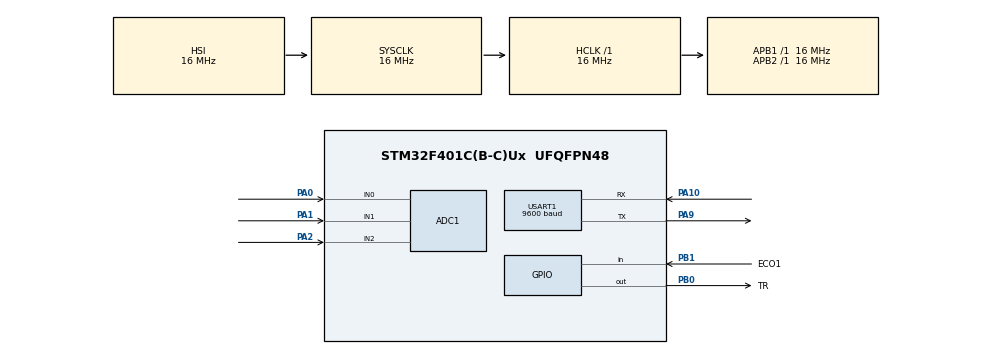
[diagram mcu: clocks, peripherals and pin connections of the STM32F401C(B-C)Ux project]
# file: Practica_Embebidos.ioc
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ADC1.Channel-0\#ChannelRegularConversion=ADC_CHANNEL_0
ADC1.Channel-1\#ChannelRegularConversion=ADC_CHANNEL_1
ADC1.Channel-2\#ChannelRegularConversion=ADC_CHANNEL_2
ADC1.InjNumberOfConversion=0
ADC1.NbrOfConversion=3
ADC1.NbrOfConversionFlag=1
ADC1.Rank-0\#ChannelRegularConversion=1
ADC1.Rank-1\#ChannelRegularConversion=2
ADC1.Rank-2\#ChannelRegularConversion=3
ADC1.SamplingTime-0\#ChannelRegularConversion=ADC_SAMPLETIME_84CYCLES
ADC1.SamplingTime-1\#ChannelRegularConversion=ADC_SAMPLETIME_84CYCLES
ADC1.SamplingTime-2\#ChannelRegularConversion=ADC_SAMPLETIME_84CYCLES
ADC1.master=1
Mcu.Family=STM32F4
Mcu.Name=STM32F401C(B-C)Ux
Mcu.Package=UFQFPN48
NVIC.PriorityGroup=NVIC_PRIORITYGROUP_4
PA0-WKUP.Signal=ADCx_IN0
PA1.Signal=ADCx_IN1
PA10.Mode=Asynchronous
PA10.Signal=USART1_RX
PA2.Signal=ADCx_IN2
PA9.Mode=Asynchronous
PA9.Signal=USART1_TX
PB0.GPIO_Label=TR
PB0.Signal=GPIO_Output
PB1.GPIO_Label=ECO1
PB1.Signal=GPIO_Input
ProjectManager.HeapSize=0x200
ProjectManager.StackSize=0x400
ProjectManager.TargetToolchain=CMake
RCC.AHBFreq_Value=16000000
RCC.APB1Freq_Value=16000000
RCC.APB2Freq_Value=16000000
RCC.CortexFreq_Value=16000000
RCC.HSE_VALUE=25000000
RCC.HSI_VALUE=16000000
RCC.LSE_VALUE=32768
RCC.SYSCLKFreq_VALUE=16000000
RCC.VCOOutputFreq_Value=192000000
SH.ADCx_IN0.0=ADC1_IN0,IN0
SH.ADCx_IN1.0=ADC1_IN1,IN1
SH.ADCx_IN2.0=ADC1_IN2,IN2
USART1.BaudRate=9600
USART1.VirtualMode=VM_ASYNC
board=custom

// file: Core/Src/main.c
/* USER CODE BEGIN Header */
/**
  ******************************************************************************
  * @file           : main.c
  * @brief          : Main program body
  ******************************************************************************
  * @attention
  *
  * Copyright (c) 2026 STMicroelectronics.
  * All rights reserved.
  *
  * This software is licensed under terms that can be found in the LICENSE file
  * in the root directory of this software component.
  * If no LICENSE file comes with this software, it is provided AS-IS.
  *
  ******************************************************************************
  */
/* USER CODE END Header */
#include "main.h"

/* USER CODE BEGIN Includes */
#include "stdio.h"
#include "string.h"
#include "stdlib.h"
#include "uart.h"
#include "math.h"
#include <stdint.h>
#include "adc_x.h"
#include "SFR04.h"

/* USER CODE END Includes */

ADC_HandleTypeDef hadc1;

UART_HandleTypeDef huart1;

/* USER CODE BEGIN PV */
uint16_t valoradc;
char buffer[100];
float voltaje;
float bateria;
float distancia;
char texto[50];
/* USER CODE END PV */

void SystemClock_Config(void);
static void MX_GPIO_Init(void);
static void MX_USART1_UART_Init(void);
static void MX_ADC1_Init(void);

int main(void)
{

  /* MCU Configuration--------------------------------------------------------*/

  /* Reset of all peripherals, Initializes the Flash interface and the Systick. */
  HAL_Init();

  /* Configure the system clock */
  SystemClock_Config();

  /* Initialize all configured peripherals */
  MX_GPIO_Init();
  MX_USART1_UART_Init();
  MX_ADC1_Init();
  /* USER CODE BEGIN 2 */
  uartx_write_text(&huart1, "Hello, World!\r\n");
  /* USER CODE END 2 */

  /* Infinite loop */
  /* USER CODE BEGIN WHILE */
  while (1)
  {
     //uartx_write_text(&huart1, "SALAM MALEKUM!\r\n");

    while (1)
{
    // 1. Lees el ADC con tu función multicanal
    ADC_Read_All(&hadc1, adc1_canales, adc1_codigo);

    // 2. Imprimes el valor entero del primer canal
    sprintf(buffer, "ADC Value: %u\r\n", adc1_codigo[0]);
    uartx_write_text(&huart1, buffer);

    // 3. Calculas el voltaje con el valor recién leído
    voltaje = (float)adc1_codigo[0] * 3.3 / 4095.0;
    bateria = (float)adc1_codigo[1] * 3.3 / 4095.0;
    bateria = bateria * 4; // Ajusta según tu divisor de voltaje

    // 4. Imprimes el voltaje
    sprintf(buffer, "ADC Value: %.2f V\r\n", voltaje);
    sprintf(buffer, ">ADC Value: %.2f V\r\n", voltaje);
    uartx_write_text(&huart1, buffer);
    sprintf(buffer, "Bateria: %.2f V\r\n", bateria);
    sprintf(buffer, ">Bateria: %.2f V\r\n", bateria);
    uartx_write_text(&huart1, buffer);

    distancia = SFR04_READ(ECO1_GPIO_Port, ECO1_Pin, 60);
    sprintf(buffer, "distancia= %.2f cm\r\n", distancia);
    uartx_write_text(&huart1, buffer);
    sprintf(buffer, ">distancia: %.2f \n", distancia);
    uartx_write_text(&huart1, buffer);

    HAL_Delay(1000);
}

    /* USER CODE END WHILE */

  }
}

void SystemClock_Config(void)
{
  RCC_OscInitTypeDef RCC_OscInitStruct = {0};
  RCC_ClkInitTypeDef RCC_ClkInitStruct = {0};

  /** Configure the main internal regulator output voltage
  */
  __HAL_RCC_PWR_CLK_ENABLE();
  __HAL_PWR_VOLTAGESCALING_CONFIG(PWR_REGULATOR_VOLTAGE_SCALE2);

  /** Initializes the RCC Oscillators according to the specified parameters
  * in the RCC_OscInitTypeDef structure.
  */
  RCC_OscInitStruct.OscillatorType = RCC_OSCILLATORTYPE_HSI;
  RCC_OscInitStruct.HSIState = RCC_HSI_ON;
  RCC_OscInitStruct.HSICalibrationValue = RCC_HSICALIBRATION_DEFAULT;
  RCC_OscInitStruct.PLL.PLLState = RCC_PLL_NONE;
  if (HAL_RCC_OscConfig(&RCC_OscInitStruct) != HAL_OK)
  {
    Error_Handler();
  }

  /** Initializes the CPU, AHB and APB buses clocks
  */
  RCC_ClkInitStruct.ClockType = RCC_CLOCKTYPE_HCLK|RCC_CLOCKTYPE_SYSCLK
                              |RCC_CLOCKTYPE_PCLK1|RCC_CLOCKTYPE_PCLK2;
  RCC_ClkInitStruct.SYSCLKSource = RCC_SYSCLKSOURCE_HSI;
  RCC_ClkInitStruct.AHBCLKDivider = RCC_SYSCLK_DIV1;
  RCC_ClkInitStruct.APB1CLKDivider = RCC_HCLK_DIV1;
  RCC_ClkInitStruct.APB2CLKDivider = RCC_HCLK_DIV1;

  if (HAL_RCC_ClockConfig(&RCC_ClkInitStruct, FLASH_LATENCY_0) != HAL_OK)
  {
    Error_Handler();
  }
}

static void MX_ADC1_Init(void)
{

  ADC_ChannelConfTypeDef sConfig = {0};

  /** Configure the global features of the ADC (Clock, Resolution, Data Alignment and number of conversion)
  */
  hadc1.Instance = ADC1;
  hadc1.Init.ClockPrescaler = ADC_CLOCK_SYNC_PCLK_DIV2;
  hadc1.Init.Resolution = ADC_RESOLUTION_12B;
  hadc1.Init.ScanConvMode = ENABLE;
  hadc1.Init.ContinuousConvMode = DISABLE;
  hadc1.Init.DiscontinuousConvMode = DISABLE;
  hadc1.Init.ExternalTrigConvEdge = ADC_EXTERNALTRIGCONVEDGE_NONE;
  hadc1.Init.ExternalTrigConv = ADC_SOFTWARE_START;
  hadc1.Init.DataAlign = ADC_DATAALIGN_RIGHT;
  hadc1.Init.NbrOfConversion = 3;
  hadc1.Init.DMAContinuousRequests = DISABLE;
  hadc1.Init.EOCSelection = ADC_EOC_SINGLE_CONV;
  if (HAL_ADC_Init(&hadc1) != HAL_OK)
  {
    Error_Handler();
  }

  /** Configure for the selected ADC regular channel its corresponding rank in the sequencer and its sample time.
  */
  sConfig.Channel = ADC_CHANNEL_0;
  sConfig.Rank = 1;
  sConfig.SamplingTime = ADC_SAMPLETIME_84CYCLES;
  if (HAL_ADC_ConfigChannel(&hadc1, &sConfig) != HAL_OK)
  {
    Error_Handler();
  }

  /** Configure for the selected ADC regular channel its corresponding rank in the sequencer and its sample time.
  */
  sConfig.Channel = ADC_CHANNEL_1;
  sConfig.Rank = 2;
  if (HAL_ADC_ConfigChannel(&hadc1, &sConfig) != HAL_OK)
  {
    Error_Handler();
  }

  /** Configure for the selected ADC regular channel its corresponding rank in the sequencer and its sample time.
  */
  sConfig.Channel = ADC_CHANNEL_2;
  sConfig.Rank = 3;
  if (HAL_ADC_ConfigChannel(&hadc1, &sConfig) != HAL_OK)
  {
    Error_Handler();
  }

}

static void MX_USART1_UART_Init(void)
{

  huart1.Instance = USART1;
  huart1.Init.BaudRate = 9600;
  huart1.Init.WordLength = UART_WORDLENGTH_8B;
  huart1.Init.StopBits = UART_STOPBITS_1;
  huart1.Init.Parity = UART_PARITY_NONE;
  huart1.Init.Mode = UART_MODE_TX_RX;
  huart1.Init.HwFlowCtl = UART_HWCONTROL_NONE;
  huart1.Init.OverSampling = UART_OVERSAMPLING_16;
  if (HAL_UART_Init(&huart1) != HAL_OK)
  {
    Error_Handler();
  }

}

static void MX_GPIO_Init(void)
{
  GPIO_InitTypeDef GPIO_InitStruct = {0};

  /* GPIO Ports Clock Enable */
  __HAL_RCC_GPIOA_CLK_ENABLE();
  __HAL_RCC_GPIOB_CLK_ENABLE();

  /*Configure GPIO pin Output Level */
  HAL_GPIO_WritePin(TR_GPIO_Port, TR_Pin, GPIO_PIN_RESET);

  /*Configure GPIO pin : TR_Pin */
  GPIO_InitStruct.Pin = TR_Pin;
  GPIO_InitStruct.Mode = GPIO_MODE_OUTPUT_PP;
  GPIO_InitStruct.Pull = GPIO_NOPULL;
  GPIO_InitStruct.Speed = GPIO_SPEED_FREQ_LOW;
  HAL_GPIO_Init(TR_GPIO_Port, &GPIO_InitStruct);

  /*Configure GPIO pin : ECO1_Pin */
  GPIO_InitStruct.Pin = ECO1_Pin;
  GPIO_InitStruct.Mode = GPIO_MODE_INPUT;
  GPIO_InitStruct.Pull = GPIO_NOPULL;
  HAL_GPIO_Init(ECO1_GPIO_Port, &GPIO_InitStruct);

}

void Error_Handler(void)
{
  __disable_irq();
  while (1)
  {
  }
}
